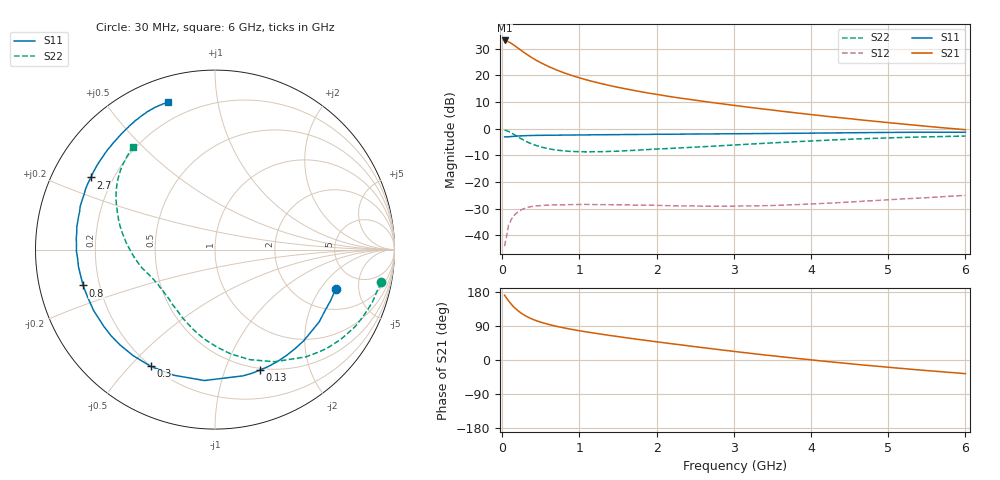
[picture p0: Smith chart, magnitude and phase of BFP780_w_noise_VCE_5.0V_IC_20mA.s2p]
! Infineon Technologies  Discrete & RF Semiconductors
! BFP780
! VCE =  5.0 V,  IC =  20 mA
! Common Emitter S-Parameters:  Jul 2015
# GHz  S  MA  R  50
!  f  S11  S21  S12  S22
! GHz  MAG  ANG  MAG  ANG  MAG  ANG  MAG  ANG
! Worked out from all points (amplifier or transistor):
!   75 points, 30 MHz to 6 GHz, reference 50 ohm
!   highest |S21| = 33.1 dB at 30 MHz (marker M1)
!   |S21| within 3 dB of that: start of sweep to 210.1 MHz
!   unconditionally stable (mu >= 1): 2.277 GHz to end of sweep
!   at 150 MHz: K = 0.12, MSG = 32.0 dB, |S12| = -32.5 dB
!   at 2.3 GHz: K = 1.01, MAG = 19.6 dB, |S12| = -28.9 dB
!   at 6 GHz: K = 1.27, MAG = 9.2 dB, |S12| = -25.0 dB
!   lowest NFmin = 0.94 dB at 450 MHz
!   S11 on the Smith chart (normalised r, x): 30 MHz: 3.24, -2.82; 130 MHz: 0.48, -1.33; 300 MHz: 0.20, -0.57; 800 MHz: 0.14, -0.13; 2.7 GHz: 0.12, +0.27; 6 GHz: 0.11, +0.73
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0.03  0.7073 -17.9  45.21 170.9  0.0063 59.0  0.9428 -11.2
0.05  0.7011 -29.4  44.45 164.7  0.0085 70.0  0.9247 -18.3
0.08  0.7088 -45.8  42.68 156.4  0.0155 63.5  0.8908 -28.8
0.1  0.7115 -55.7  41.2 151.3  0.0171 58.4  0.8619 -35.2
0.13  0.7165 -69.5  38.77 144.1  0.0213 55.7  0.8131 -44.4
0.15  0.7205 -77.5  36.98 139.8  0.0236 50.9  0.7828 -49.8
0.2  0.7318 -94.6  32.79 130.5  0.0274 43.4  0.7069 -62.1
0.25  0.7366 -108.1  29.08 122.8  0.0304 36.1  0.6434 -72.4
0.3  0.7423 -118.9  25.84 116.6  0.0326 32.0  0.5879 -81.4
0.35  0.7463 -127.6  23.09 111.3  0.0343 28.1  0.5428 -88.9
0.4  0.7496 -134.7  20.83 106.9  0.0351 24.8  0.5079 -95.5
0.5  0.7527 -145.4  17.27 99.7  0.0364 20.0  0.4558 -106.4
0.6  0.7568 -153.4  14.66 93.9  0.0371 16.8  0.4221 -115.1
0.8  0.7618 -164.8  11.2 84.7  0.0376 12.0  0.3856 -128.3
1.1  0.767 -176.4  8.183 73.8  0.0382 8.4  0.3689 -142.1
1.5  0.7761 172.9  5.979 61.8  0.0376 5.8  0.3804 -154.2
2.1  0.7894 160.5  4.169 45.4  0.0363 4.9  0.4228 -166.9
2.7  0.7998 149.8  3.126 30.1  0.0354 6.8  0.4687 -178.7
3.1  0.8088 143.1  2.632 20.3  0.0357 9.3  0.5054 173.5
4.1  0.8306 128.2  1.78 -1.8  0.0395 16.1  0.5998 156.1
5.1  0.8556 116.2  1.263 -21.0  0.0476 17.6  0.6807 141.3
6  0.8623 107.6  0.961 -36.0  0.0565 15.0  0.731 128.7
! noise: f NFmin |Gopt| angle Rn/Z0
0.45  0.94  0.15  144  0.07
0.9  1  0.21  161  0.09
1.5  1.11  0.31  175  0.06
1.8  1.3  0.38  -175  0.07
2.4  1.47  0.43  -159  0.08
3  1.8  0.48  -146  0.12
3.5  2.39  0.54  -130  0.2
